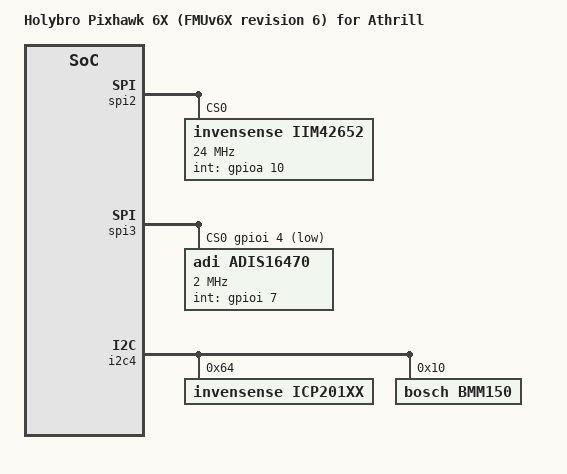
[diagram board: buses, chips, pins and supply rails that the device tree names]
/* SPDX-License-Identifier: MIT */

/*
 * Holybro Pixhawk 6X / FMUv6X sensor-set revision 6.
 * ICM-45686 on SPI1 has no model yet: its chip-select line remains on the
 * bus, with no device attached.
 */

#include "pixhawk6x.dts"

/ {
	model = "Holybro Pixhawk 6X (FMUv6X revision 6) for Athrill";
};

/* PX4 reads the PG0-high and PG0-low 16-bit ADC3 conversions. Channel 14
 * uses the documented fallback base-board version 0; channel 15's 36800
 * scales to 2300 in PX4's 12-bit ladder table, selecting ordinal 6. */
&adc3_common {
	athrill,adc-select-gpios = <&gpiog 0 GPIO_ACTIVE_HIGH>;
	athrill,adc-channel-values = <14 65535 0>,
				     <15 65535 36800>;
};

/* Revision 6 SPI1 is ICM-45686 on PI9/PF2, not modeled yet. */
&spi1 {
	/delete-node/ imu@0;
};

/* Revision 6 SPI2 is IIM-42652 on CS PH5, DRDY PA10; PX4 starts it with
 * -R 6 (yaw 270). */
&spi2 {
	/delete-node/ imu@0;

	iim42652: imu@0 {
		compatible = "invensense,iim42652";
		reg = <0>;
		spi-max-frequency = <24000000>;
		int-gpios = <&gpioa 10 GPIO_ACTIVE_HIGH>;
		athrill,mount-rotation = "yaw-270";
	};
};

/* Revision 6 SPI3 has one ADIS16470 on CS PI4, DRDY PI7, rotation 0. */
&spi3 {
	cs-gpios = <&gpioi 4 GPIO_ACTIVE_LOW>;

	/delete-node/ gyroscope@0;
	/delete-node/ accelerometer@1;

	adis16470: imu@0 {
		compatible = "adi,adis16470";
		reg = <0>;
		spi-max-frequency = <2000000>;
		int-gpios = <&gpioi 7 GPIO_ACTIVE_HIGH>;
	};
};

/* Revision 6 internal I2C4: ICP-201xx and BMM150, both rotation 0. */
&i2c4 {
	/delete-node/ pressure@77;
	/delete-node/ magnetometer@10;

	icp201xx: pressure@64 {
		compatible = "invensense,icp201xx";
		reg = <0x64>;
	};

	bmm150: magnetometer@10 {
		compatible = "bosch,bmm150";
		reg = <0x10>;
	};
};
